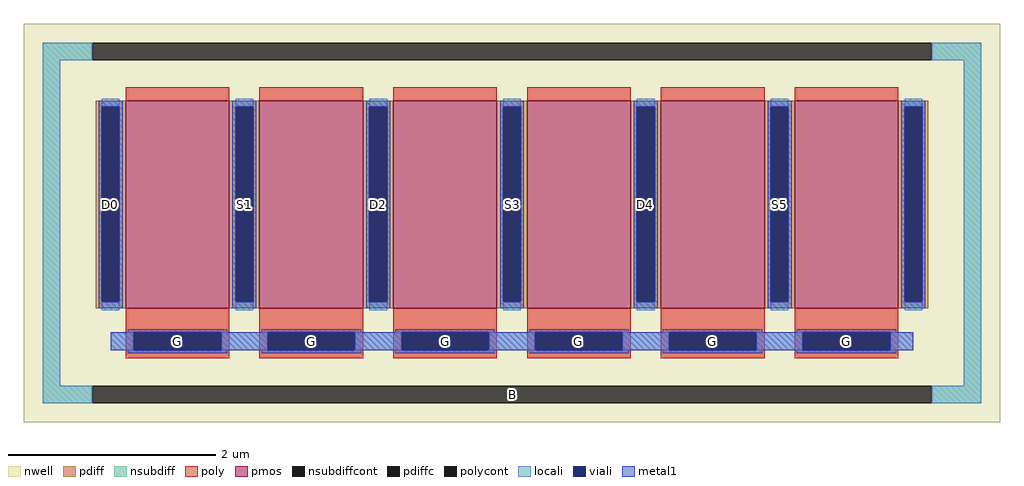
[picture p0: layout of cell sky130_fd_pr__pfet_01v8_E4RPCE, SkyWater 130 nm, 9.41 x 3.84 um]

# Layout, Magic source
magic
tech sky130A
magscale 1 2
<< nwell >>
rect -941 -384 941 384
<< pmos >>
rect -745 -164 -545 236
rect -487 -164 -287 236
rect -229 -164 -29 236
rect 29 -164 229 236
rect 287 -164 487 236
rect 545 -164 745 236
<< pdiff >>
rect -803 224 -745 236
rect -803 -152 -791 224
rect -757 -152 -745 224
rect -803 -164 -745 -152
rect -545 224 -487 236
rect -545 -152 -533 224
rect -499 -152 -487 224
rect -545 -164 -487 -152
rect -287 224 -229 236
rect -287 -152 -275 224
rect -241 -152 -229 224
rect -287 -164 -229 -152
rect -29 224 29 236
rect -29 -152 -17 224
rect 17 -152 29 224
rect -29 -164 29 -152
rect 229 224 287 236
rect 229 -152 241 224
rect 275 -152 287 224
rect 229 -164 287 -152
rect 487 224 545 236
rect 487 -152 499 224
rect 533 -152 545 224
rect 487 -164 545 -152
rect 745 224 803 236
rect 745 -152 757 224
rect 791 -152 803 224
rect 745 -164 803 -152
<< pdiffc >>
rect -791 -152 -757 224
rect -533 -152 -499 224
rect -275 -152 -241 224
rect -17 -152 17 224
rect 241 -152 275 224
rect 499 -152 533 224
rect 757 -152 791 224
<< nsubdiff >>
rect -905 314 -809 348
rect 809 314 905 348
rect -905 -314 -871 314
rect 871 -314 905 314
rect -905 -348 -809 -314
rect 809 -348 905 -314
<< nsubdiffcont >>
rect -809 314 809 348
rect -809 -348 809 -314
<< poly >>
rect -745 236 -545 262
rect -487 236 -287 262
rect -229 236 -29 262
rect 29 236 229 262
rect 287 236 487 262
rect 545 236 745 262
rect -745 -211 -545 -164
rect -745 -245 -729 -211
rect -561 -245 -545 -211
rect -745 -261 -545 -245
rect -487 -211 -287 -164
rect -487 -245 -471 -211
rect -303 -245 -287 -211
rect -487 -261 -287 -245
rect -229 -211 -29 -164
rect -229 -245 -213 -211
rect -45 -245 -29 -211
rect -229 -261 -29 -245
rect 29 -211 229 -164
rect 29 -245 45 -211
rect 213 -245 229 -211
rect 29 -261 229 -245
rect 287 -211 487 -164
rect 287 -245 303 -211
rect 471 -245 487 -211
rect 287 -261 487 -245
rect 545 -211 745 -164
rect 545 -245 561 -211
rect 729 -245 745 -211
rect 545 -261 745 -245
<< polycont >>
rect -729 -245 -561 -211
rect -471 -245 -303 -211
rect -213 -245 -45 -211
rect 45 -245 213 -211
rect 303 -245 471 -211
rect 561 -245 729 -211
<< locali >>
rect -905 314 -809 348
rect 809 314 905 348
rect -905 -314 -871 314
rect -791 224 -757 240
rect -791 -168 -757 -152
rect -533 224 -499 240
rect -533 -168 -499 -152
rect -275 224 -241 240
rect -275 -168 -241 -152
rect -17 224 17 240
rect -17 -168 17 -152
rect 241 224 275 240
rect 241 -168 275 -152
rect 499 224 533 240
rect 499 -168 533 -152
rect 757 224 791 240
rect 757 -168 791 -152
rect -774 -245 -729 -211
rect -561 -245 -471 -211
rect -303 -245 -213 -211
rect -45 -245 45 -211
rect 213 -245 303 -211
rect 471 -245 561 -211
rect 729 -245 774 -211
rect 871 -314 905 314
rect -905 -348 -809 -314
rect 809 -348 905 -314
<< viali >>
rect -791 -152 -757 224
rect -533 -152 -499 224
rect -275 -152 -241 224
rect -17 -152 17 224
rect 241 -152 275 224
rect 499 -152 533 224
rect 757 -152 791 224
rect -729 -245 -561 -211
rect -471 -245 -303 -211
rect -213 -245 -45 -211
rect 45 -245 213 -211
rect 303 -245 471 -211
rect 561 -245 729 -211
<< metal1 >>
rect -797 224 -751 236
rect -797 -152 -791 224
rect -757 -152 -751 224
rect -797 -164 -751 -152
rect -539 224 -493 236
rect -539 -152 -533 224
rect -499 -152 -493 224
rect -539 -164 -493 -152
rect -281 224 -235 236
rect -281 -152 -275 224
rect -241 -152 -235 224
rect -281 -164 -235 -152
rect -23 224 23 236
rect -23 -152 -17 224
rect 17 -152 23 224
rect -23 -164 23 -152
rect 235 224 281 236
rect 235 -152 241 224
rect 275 -152 281 224
rect 235 -164 281 -152
rect 493 224 539 236
rect 493 -152 499 224
rect 533 -152 539 224
rect 493 -164 539 -152
rect 751 224 797 236
rect 751 -152 757 224
rect 791 -152 797 224
rect 751 -164 797 -152
rect -741 -211 -549 -205
rect -483 -211 -291 -205
rect -225 -211 -33 -205
rect 33 -211 225 -205
rect 291 -211 483 -205
rect 549 -211 741 -205
rect -774 -245 -729 -211
rect -561 -245 -471 -211
rect -303 -245 -213 -211
rect -45 -245 45 -211
rect 213 -245 303 -211
rect 471 -245 561 -211
rect 729 -245 774 -211
rect -741 -251 -549 -245
rect -483 -251 -291 -245
rect -225 -251 -33 -245
rect 33 -251 225 -245
rect 291 -251 483 -245
rect 549 -251 741 -245
<< labels >>
rlabel nsubdiffcont 0 -331 0 -331 0 B
port 1 nsew
rlabel pdiffc -774 36 -774 36 0 D0
port 2 nsew
rlabel polycont -645 -228 -645 -228 0 G
port 3 nsew
rlabel pdiffc -516 36 -516 36 0 S1
port 4 nsew
rlabel polycont -387 -228 -387 -228 0 G
port 3 nsew
rlabel pdiffc -258 36 -258 36 0 D2
port 5 nsew
rlabel polycont -129 -228 -129 -228 0 G
port 3 nsew
rlabel pdiffc 0 36 0 36 0 S3
port 6 nsew
rlabel polycont 129 -228 129 -228 0 G
port 3 nsew
rlabel pdiffc 258 36 258 36 0 D4
port 7 nsew
rlabel polycont 387 -228 387 -228 0 G
port 3 nsew
rlabel pdiffc 516 36 516 36 0 S5
port 8 nsew
rlabel polycont 645 -228 645 -228 0 G
port 3 nsew
<< properties >>
string FIXED_BBOX -888 -331 888 331
string gencell sky130_fd_pr__pfet_01v8
string library sky130
string parameters w 2 l 1 m 1 nf 6 diffcov 100 polycov 100 guard 1 glc 0 grc 0 gtc 1 gbc 1 tbcov 100 rlcov 100 topc 0 botc 1 poverlap 0 doverlap 1 lmin 0.15 wmin 0.42 class mosfet compatible {sky130_fd_pr__pfet_01v8  sky130_fd_pr__pfet_01v8_lvt sky130_fd_pr__pfet_01v8_hvt  sky130_fd_pr__pfet_g5v0d10v5} full_metal 1 conn_gates 1 viasrc 100 viadrn 100 viagate 100 viagb 0 viagr 0 viagl 0 viagt 0 doports 1
<< end >>
